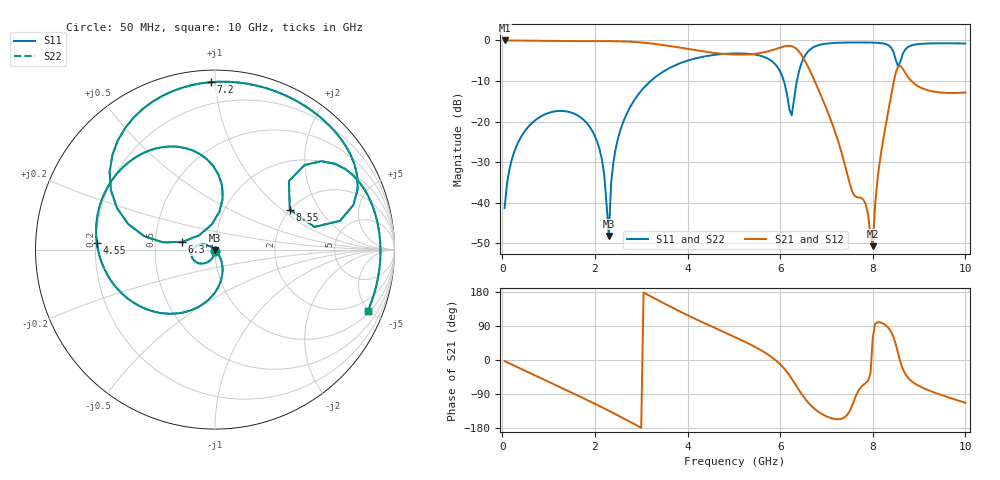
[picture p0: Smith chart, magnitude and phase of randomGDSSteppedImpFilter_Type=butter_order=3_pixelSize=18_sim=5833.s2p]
! freq	dB(S11)	phase(S11)	dB(S12)	phase(S12)
!  dB(S21)	phase(S21)	dB(S22)	phase(S22)
!S-par simulation data
#  GHz  S  DB  R 50
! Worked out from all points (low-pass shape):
!   200 points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, 50 MHz to 10 GHz, reference 50 ohm
!   highest |S21| = -0.01 dB at 50 MHz (marker M1); lowest = -50.7 dB at 8 GHz (marker M2)
!   |S21| within 3 dB of the highest: start of sweep to 4.527 GHz; 5.617 GHz to 6.424 GHz (806.6 MHz wide, 13.4 % of centre)
!   lowest |S11| = -48.2 dB at 2.3 GHz (marker M3), VSWR 1.01, Z = 50.1 - j0.376 ohm
!   |S11| at or under -10 dB: start of sweep to 3.206 GHz; 6.078 GHz to 6.362 GHz (283.8 MHz wide, 4.56 % of centre)
!   |S22| runs from -47.9 to -0.5 dB; largest |S21 - S12| = 0
!   S11 on the Smith chart (normalised r, x): 50 MHz: 1.00, -0.02; 4.55 GHz: 0.21, +0.03; 6.3 GHz: 0.69, +0.06; 7.2 GHz: 0.07, +0.97; 8.55 GHz: 1.99, +1.14; 10 GHz: 1.13, -4.88
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0.05  -41.33 -91.5  -0.01 -2.9  -0.01 -2.9  -41.34 -91.6
0.2  -29.60 -101.3  -0.02 -11.6  -0.02 -11.6  -29.60 -101.3
0.55  -21.46 -122.1  -0.08 -31.8  -0.08 -31.8  -21.46 -122.1
1.75  -19.53 169.0  -0.17 -100.7  -0.17 -100.7  -19.53 169.1
2.15  -29.28 146.8  -0.16 -124.7  -0.16 -124.7  -29.28 147.2
2.3  -48.24 -75.5  -0.17 -133.9  -0.17 -133.9  -47.89 -79.2
2.4  -29.96 -54.1  -0.18 -140.2  -0.18 -140.2  -29.96 -54.7
2.55  -22.12 -61.9  -0.22 -149.7  -0.22 -149.7  -22.12 -62.2
3.4  -8.26 -115.7  -1.02 155.3  -1.02 155.3  -8.26 -115.8
4.55  -3.61 176.6  -3.04 86.8  -3.04 86.8  -3.61 176.6
5.05  -3.19 149.3  -3.49 58.9  -3.49 58.9  -3.19 149.3
6  -7.65 87.1  -1.77 -11.3  -1.77 -11.3  -7.66 86.9
6.25  -18.46 138.3  -1.42 -49.3  -1.42 -49.3  -18.56 138.4
6.3  -14.52 166.7  -1.66 -58.7  -1.66 -58.7  -14.56 167.0
6.7  -1.80 131.8  -8.86 -124.3  -8.86 -124.3  -1.80 131.9
7.2  -0.60 91.5  -23.03 -156.1  -23.03 -156.1  -0.60 91.5
8  -0.54 47.2  -50.73 58.4  -50.73 58.4  -0.54 47.2
8.1  -0.59 41.4  -34.50 99.6  -34.50 99.6  -0.59 41.5
8.35  -1.28 23.0  -16.49 82.9  -16.49 82.9  -1.28 23.0
8.55  -6.51 28.2  -6.34 16.0  -6.34 16.0  -6.50 28.2
8.75  -1.70 35.6  -8.84 -45.1  -8.84 -45.1  -1.70 35.6
10  -0.75 -22.1  -12.84 -112.9  -12.84 -112.9  -0.75 -22.1
